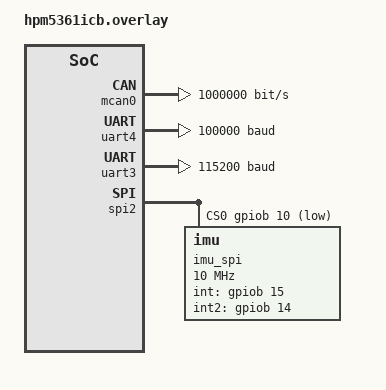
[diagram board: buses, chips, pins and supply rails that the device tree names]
#include <dt-bindings/gpio/gpio.h>
#include <dt-bindings/clock/hpm5361-clocks.h>

/ {
	aliases {
		user-can1 =  &mcan0;
		uart-remote = &uart4;
		imu-spi = &imu_spi;
	};

	chosen {
		zephyr,console = &uart3;
	};
};

&hdma {
	status = "okay";
};

&gpioa {
	pinctrl-0 = <&pinmux_gpioa>;
	pinctrl-names = "default";
	status = "okay";
};

&gpiob {
	pinctrl-0 = <&pinmux_gpiob_spi>;
	pinctrl-names = "default";
	status = "okay";
};

&mcan0 {
	pinctrl-0 = <&pinmux_mcan0_txrx_local>;
	pinctrl-names = "default";
	bitrate = <1000000>;
	status = "okay";
};

&uart4 {
	current-speed = <100000>;
	pinctrl-0 = <&pinmux_uart4_rx>;
	pinctrl-names = "default";
	uart-idle-gptmr-reg = <0xF000C000>;
	uart-idle-gptmr-clock-name = <CLOCK_GPTMR3>;
	dmas = <&hdma 2 0x1C>, <&hdma 3 0x1D>;
	dma-names = "rx", "tx";
	status = "okay";
};

&uart3 {
	current-speed = <115200>;
	pinctrl-0 = <&pinmux_uart3>;
	pinctrl-names = "default";
	dmas = <&hdma 4 0x1A>, <&hdma 5 0x1B>;
	dma-names = "rx", "tx";
	status = "okay";
};

&spi2 {
	pinctrl-0 = <&pinmux_spi2_local>;
	pinctrl-names = "default";
	clocks = <&clk CLOCK_SPI2 CLK_SRC_PLL1_CLK0 10>;
	cs-gpios = <&gpiob 10 GPIO_ACTIVE_LOW>;
	status = "okay";

	imu_spi: imu@0 {
		reg = <0>;
		spi-max-frequency = <10000000>;
		int-gpios = <&gpiob 15 GPIO_ACTIVE_HIGH>;
		int2-gpios = <&gpiob 14 GPIO_ACTIVE_HIGH>;
		status = "okay";
	};
};

&pinctrl {
	pinmux_gpiob_spi: pinmux_gpiob_spi {
		group0 {
			pinmux = <HPMICRO_PINMUX(HPMICRO_PIN(HPMICRO_PORTB, 10), IOC_TYPE_IOC, 0, 0)>;
		};

		group1 {
			pinmux = <HPMICRO_PINMUX(HPMICRO_PIN(HPMICRO_PORTB, 14), IOC_TYPE_IOC, 0, 0)>,
				 <HPMICRO_PINMUX(HPMICRO_PIN(HPMICRO_PORTB, 15), IOC_TYPE_IOC, 0, 0)>;
			input-enable;
		};
	};

	pinmux_mcan0_txrx_local: pinmux_mcan0_txrx_local {
		group0 {
			pinmux = <HPMICRO_PINMUX(HPMICRO_PIN(HPMICRO_PORTB, 0), IOC_TYPE_IOC, 0, 7)>,
				 <HPMICRO_PINMUX(HPMICRO_PIN(HPMICRO_PORTB, 1), IOC_TYPE_IOC, 0, 7)>;
		};
	};

	pinmux_spi2_local: pinmux_spi2_local {
		group0 {
			pinmux = <HPMICRO_PINMUX(HPMICRO_PIN(HPMICRO_PORTB, 11), IOC_TYPE_IOC, 0, 5)>,
				 <HPMICRO_PINMUX(HPMICRO_PIN(HPMICRO_PORTB, 12), IOC_TYPE_IOC, 0, 5)>,
				 <HPMICRO_PINMUX(HPMICRO_PIN(HPMICRO_PORTB, 13), IOC_TYPE_IOC, 0, 5)>;
			input-enable;
		};
	};

	pinmux_uart3: pinmux_uart3 {
		group0 {
			pinmux = <HPMICRO_PINMUX(HPMICRO_PIN(HPMICRO_PORTA, 14), IOC_TYPE_IOC, 0, 2)>,
				 <HPMICRO_PINMUX(HPMICRO_PIN(HPMICRO_PORTA, 15), IOC_TYPE_IOC, 0, 2)>;
			input-enable;
		};
	};
};

&mtimer {
	compatible = "riscv,machine-timer", "andestech,machine-timer";
	reg-names = "mtime", "mtimecmp";
};
